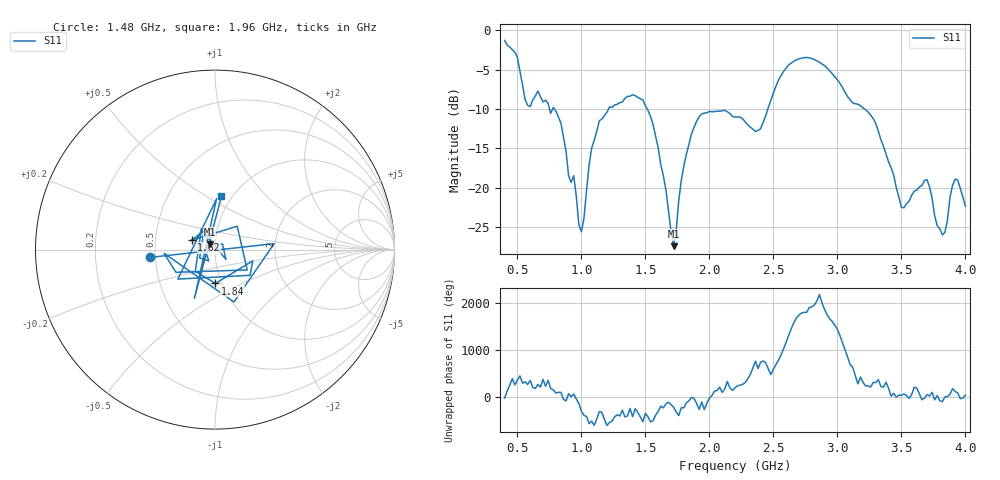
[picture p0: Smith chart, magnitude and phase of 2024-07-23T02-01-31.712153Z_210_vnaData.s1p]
!Created with skrf (http://scikit-rf.org).
# Hz S RI R 50.0
!freq ReS11 ImS11
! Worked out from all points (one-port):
!   181 points, 400 MHz to 4 GHz, reference 50 ohm
!   lowest |S11| = -27.4 dB at 1.72 GHz (marker M1), VSWR 1.09, Z = 47 + j2.79 ohm
!   |S11| at or under -10 dB: 789.5 MHz to 1.211 GHz (421.9 MHz wide, 42.2 % of centre); 1.514 GHz to 2.456 GHz (942.2 MHz wide, 47.5 % of centre); 3.214 GHz to end of sweep (the widest 3 of 4)
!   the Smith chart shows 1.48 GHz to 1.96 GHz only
!   S11 on the Smith chart (normalised r, x): 1.48 GHz: 0.47, -0.05; 1.62 GHz: 0.77, +0.08; 1.84 GHz: 0.94, -0.37; 1.96 GHz: 0.90, +0.58
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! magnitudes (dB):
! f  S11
! 400 MHz  -1.3
! 500 MHz  -3.4
! 580 MHz  -9.5
! 660 MHz  -7.7
! 860 MHz  -13.6
! 940 MHz  -18.5
! 1 GHz  -25.6
! 1.08 GHz  -15.0
! 1.14 GHz  -11.5
! 1.3 GHz  -9.2
! 1.48 GHz  -8.8
! 1.62 GHz  -17.0
! 1.72 GHz  -27.4
! 1.76 GHz  -21.7
! 1.84 GHz  -14.5
! 1.96 GHz  -10.5
! 2.2 GHz  -11.0
! 2.4 GHz  -12.5
! 2.66 GHz  -3.9
! 2.88 GHz  -4.3
! 3.1 GHz  -8.8
! 3.28 GHz  -11.2
! 3.5 GHz  -22.5
! 3.56 GHz  -21.7
! 3.7 GHz  -19.0
! 3.82 GHz  -26.0
! 3.92 GHz  -18.9
! 4 GHz  -22.3
